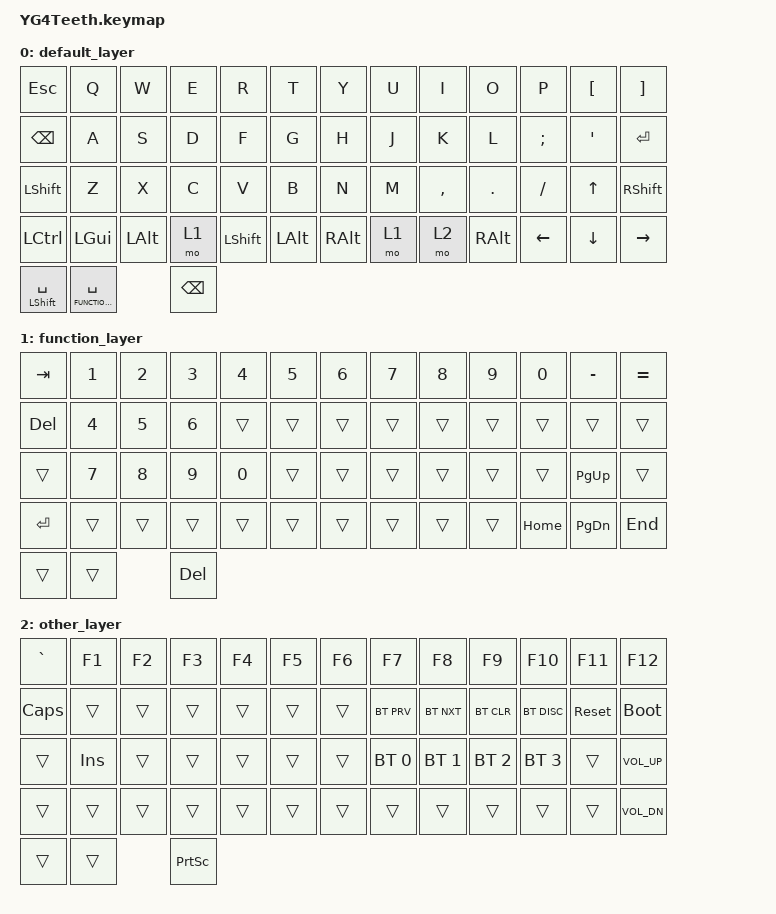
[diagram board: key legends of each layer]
/*
 * Copyright (c) 2020 The ZMK Contributors
 *
 * SPDX-License-Identifier: MIT
pin matrix changed
 */

#include <behaviors.dtsi>
#include <dt-bindings/zmk/keys.h>
#include <dt-bindings/zmk/bt.h>

#define DEFAULT_LAYER  0
#define FUNCTION_LAYER 1
#define OTHER_LAYER    2

/ {
      behaviors {
        ht: hold_tap {
            compatible = "zmk,behavior-hold-tap";
            #binding-cells = <2>;
            tapping-term-ms = <190>;
            flavor = "tap-preferred";
            bindings = <&kp>, <&kp>;
        };
    };

    keymap {
        compatible = "zmk,keymap";

        default_layer {
            bindings = <
//C0             C1            C2       C3        C4         C5        C6        C7        C8         C9         C10         C11         C12        
&kp ESC          &kp Q         &kp W    &kp E     &kp R      &kp T     &kp Y     &kp U     &kp I      &kp O      &kp P       &kp LBKT    &kp RBKT 
&kp BSPC         &kp A         &kp S    &kp D     &kp F      &kp G     &kp H     &kp J     &kp K      &kp L      &kp SEMI    &kp APOS    &kp RET
&kp LSHFT        &kp Z         &kp X    &kp C     &kp V      &kp B     &kp N     &kp M     &kp COMMA  &kp DOT    &kp FSLH    &kp UP      &kp RSHFT
&kp LCTRL        &kp LGUI      &kp LALT &mo 1     &kp LSHFT  &kp LALT  &kp RALT  &mo 1     &mo 2      &kp RALT   &kp LEFT    &kp DOWN    &kp RIGHT
&ht LSHIFT SPACE &lt FUNCTION_LAYER SPACE &kp BSPC
            >;
        };

        function_layer {
            bindings = <
//C0        C1        C2        C3        C4        C5        C6        C7        C8         C9        C10        C11          C12      
&kp TAB     &kp N1    &kp N2    &kp N3    &kp N4    &kp N5    &kp N6    &kp N7    &kp N8     &kp N9    &kp N0     &kp MINUS    &kp EQUAL 
&kp DEL     &kp N4    &kp N5    &kp N6    &trans    &trans    &trans    &trans    &trans     &trans    &trans     &trans       &trans
&trans      &kp N7    &kp N8    &kp N9    &kp N0    &trans    &trans    &trans    &trans     &trans    &trans     &kp PG_UP    &trans
&kp RET     &trans    &trans    &trans    &trans    &trans    &trans    &trans    &trans     &trans    &kp HOME   &kp PG_DN    &kp END
&trans      &trans    &kp DEL
            >;
        };

        other_layer {
            bindings = <
//C0      C1         C2         C3        C4       C5       C6         C7           C8           C9             C10            C11            C12     
&kp GRAVE &kp F1     &kp F2     &kp F3    &kp F4   &kp F5   &kp F6     &kp F7       &kp F8       &kp F9         &kp F10        &kp F11        &kp F12
&kp CAPS  &trans     &trans     &trans    &trans   &trans   &trans     &bt BT_PRV   &bt BT_NXT   &bt BT_CLR     &bt BT_DISC    &sys_reset     &bootloader
&trans    &kp INS      &trans     &trans    &trans   &trans   &trans     &bt BT_SEL 0 &bt BT_SEL 1 &bt BT_SEL 2 &bt BT_SEL 3   &trans         &kp C_VOL_UP    &trans
&trans    &trans     &trans     &trans    &trans   &trans   &trans     &trans       &trans       &trans         &trans         &kp C_VOL_DN   &trans
&trans    &kp PSCRN
            >;
        };

    }; //
}; 
